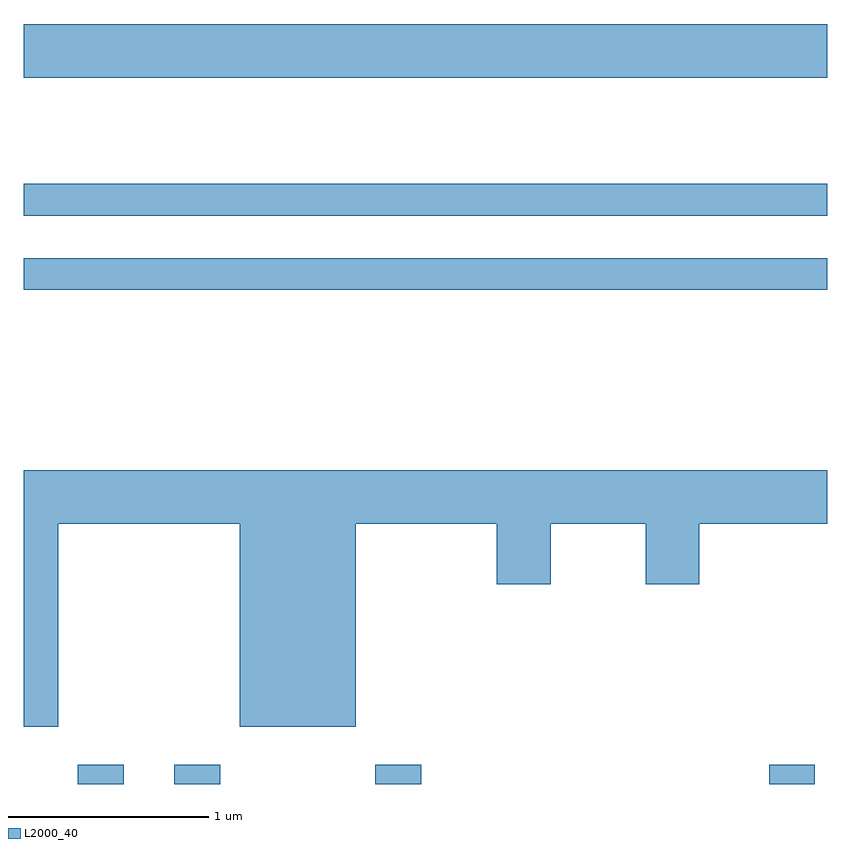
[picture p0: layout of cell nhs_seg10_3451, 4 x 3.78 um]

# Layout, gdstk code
import gdstk
lib = gdstk.Library(unit=1e-6, precision=1e-09)
def R(c, l, rs):  # rectangles x0, y0, x1, y1
    for r in rs: c.add(gdstk.rectangle(r[:2], r[2:], *l))
def P(c, l, *ps):  # polygons
    for p in ps: c.add(gdstk.Polygon(p, *l))
L2000_40 = (2000, 40)

nhs_seg10_3451 = lib.new_cell('nhs_seg10_3451')
R(nhs_seg10_3451, L2000_40, [(285.881,2212.522,286.109,2212.619), (286.361,2212.522,286.589,2212.619), (287.361,2212.522,287.589,2212.619), (289.321,2212.522,289.549,2212.619), (285.611,2214.981,289.611,2215.139), (285.611,2215.351,289.611,2215.509), (285.611,2216.036,289.611,2216.304)])
P(nhs_seg10_3451, L2000_40, [(285.784,2213.816),(286.686,2213.816),(286.686,2212.806),(287.264,2212.806),(287.264,2213.816),(287.966,2213.816),(287.966,2213.516),(288.234,2213.516),(288.234,2213.816),(288.706,2213.816),(288.706,2213.516),(288.974,2213.516),(288.974,2213.816),(289.611,2213.816),(289.611,2214.084),(285.611,2214.084),(285.611,2212.806),(285.784,2212.806)])

lib.write_gds('nhs_seg10_3451.gds')
